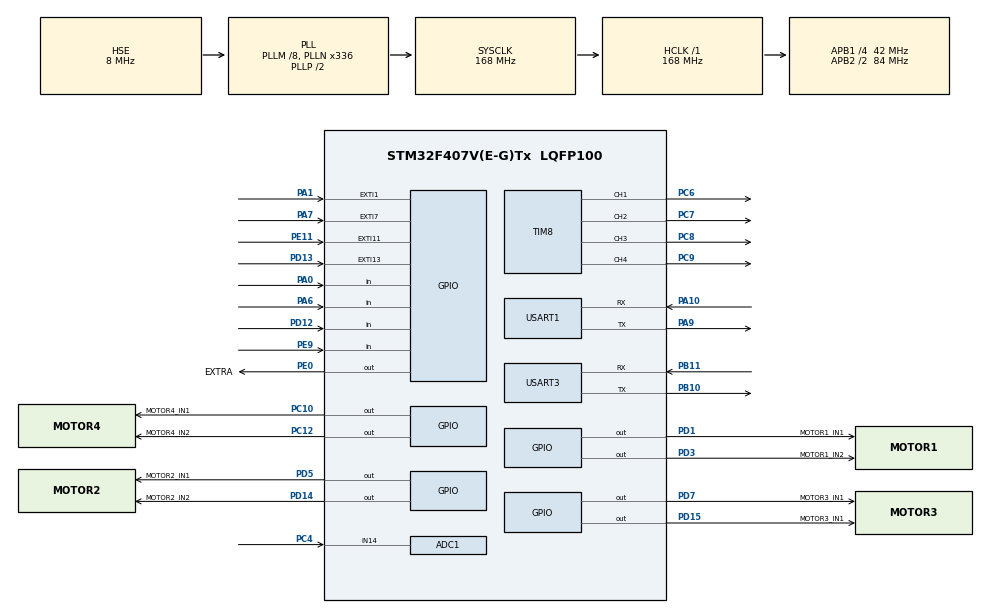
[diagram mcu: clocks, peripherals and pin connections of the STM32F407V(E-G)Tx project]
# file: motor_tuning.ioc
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ADC1.Channel-0\#ChannelRegularConversion=ADC_CHANNEL_14
ADC1.NbrOfConversionFlag=1
ADC1.Rank-0\#ChannelRegularConversion=1
ADC1.SamplingTime-0\#ChannelRegularConversion=ADC_SAMPLETIME_3CYCLES
ADC1.master=1
Dma.Request0=USART1_RX
Dma.Request1=USART1_TX
Dma.Request2=USART3_RX
Dma.Request3=USART3_TX
Dma.USART1_RX.0.Direction=DMA_PERIPH_TO_MEMORY
Dma.USART1_RX.0.FIFOMode=DMA_FIFOMODE_DISABLE
Dma.USART1_RX.0.Instance=DMA2_Stream2
Dma.USART1_RX.0.MemDataAlignment=DMA_MDATAALIGN_BYTE
Dma.USART1_RX.0.MemInc=DMA_MINC_ENABLE
Dma.USART1_RX.0.Mode=DMA_NORMAL
Dma.USART1_RX.0.PeriphDataAlignment=DMA_PDATAALIGN_BYTE
Dma.USART1_RX.0.PeriphInc=DMA_PINC_DISABLE
Dma.USART1_RX.0.Priority=DMA_PRIORITY_LOW
Dma.USART1_TX.1.Direction=DMA_MEMORY_TO_PERIPH
Dma.USART1_TX.1.FIFOMode=DMA_FIFOMODE_DISABLE
Dma.USART1_TX.1.Instance=DMA2_Stream7
Dma.USART1_TX.1.MemDataAlignment=DMA_MDATAALIGN_BYTE
Dma.USART1_TX.1.MemInc=DMA_MINC_ENABLE
Dma.USART1_TX.1.Mode=DMA_NORMAL
Dma.USART1_TX.1.PeriphDataAlignment=DMA_PDATAALIGN_BYTE
Dma.USART1_TX.1.PeriphInc=DMA_PINC_DISABLE
Dma.USART1_TX.1.Priority=DMA_PRIORITY_LOW
Dma.USART3_RX.2.Direction=DMA_PERIPH_TO_MEMORY
Dma.USART3_RX.2.FIFOMode=DMA_FIFOMODE_DISABLE
Dma.USART3_RX.2.Instance=DMA1_Stream1
Dma.USART3_RX.2.MemDataAlignment=DMA_MDATAALIGN_BYTE
Dma.USART3_RX.2.MemInc=DMA_MINC_ENABLE
Dma.USART3_RX.2.Mode=DMA_NORMAL
Dma.USART3_RX.2.PeriphDataAlignment=DMA_PDATAALIGN_BYTE
Dma.USART3_RX.2.PeriphInc=DMA_PINC_DISABLE
Dma.USART3_RX.2.Priority=DMA_PRIORITY_LOW
Dma.USART3_TX.3.Direction=DMA_MEMORY_TO_PERIPH
Dma.USART3_TX.3.FIFOMode=DMA_FIFOMODE_DISABLE
Dma.USART3_TX.3.Instance=DMA1_Stream3
Dma.USART3_TX.3.MemDataAlignment=DMA_MDATAALIGN_BYTE
Dma.USART3_TX.3.MemInc=DMA_MINC_ENABLE
Dma.USART3_TX.3.Mode=DMA_NORMAL
Dma.USART3_TX.3.PeriphDataAlignment=DMA_PDATAALIGN_BYTE
Dma.USART3_TX.3.PeriphInc=DMA_PINC_DISABLE
Dma.USART3_TX.3.Priority=DMA_PRIORITY_LOW
Mcu.Family=STM32F4
Mcu.Name=STM32F407V(E-G)Tx
Mcu.Package=LQFP100
NVIC.DMA1_Stream1_IRQn=true\:0\:0\:false\:false\:true\:false
NVIC.DMA1_Stream3_IRQn=true\:0\:0\:false\:false\:true\:false
NVIC.DMA2_Stream2_IRQn=true\:0\:0\:false\:false\:true\:false
NVIC.DMA2_Stream7_IRQn=true\:0\:0\:false\:false\:true\:false
NVIC.EXTI15_10_IRQn=true\:0\:0\:false\:false\:true\:true
NVIC.EXTI1_IRQn=true\:0\:0\:false\:false\:true\:true
NVIC.EXTI9_5_IRQn=true\:0\:0\:false\:false\:true\:true
NVIC.PriorityGroup=NVIC_PRIORITYGROUP_4
NVIC.USART1_IRQn=true\:0\:0\:false\:false\:true\:true
NVIC.USART3_IRQn=true\:0\:0\:false\:false\:true\:true
PA0-WKUP.GPIO_PuPd=GPIO_PULLUP
PA0-WKUP.Signal=GPIO_Input
PA1.Signal=GPXTI1
PA10.Mode=Asynchronous
PA10.Signal=USART1_RX
PA13.Mode=Trace_Asynchronous_SW
PA13.Signal=SYS_JTMS-SWDIO
PA14.Mode=Trace_Asynchronous_SW
PA14.Signal=SYS_JTCK-SWCLK
PA6.GPIO_PuPd=GPIO_PULLUP
PA6.Signal=GPIO_Input
PA7.Signal=GPXTI7
PA9.Mode=Asynchronous
PA9.Signal=USART1_TX
PB10.Mode=Asynchronous
PB10.Signal=USART3_TX
PB11.Mode=Asynchronous
PB11.Signal=USART3_RX
PB3.Mode=Trace_Asynchronous_SW
PB3.Signal=SYS_JTDO-SWO
PC10.GPIO_Label=MOTOR4_IN1
PC10.GPIO_Speed=GPIO_SPEED_FREQ_VERY_HIGH
PC10.Signal=GPIO_Output
PC12.GPIO_Label=MOTOR4_IN2
PC12.GPIO_Speed=GPIO_SPEED_FREQ_VERY_HIGH
PC12.Signal=GPIO_Output
PC4.Signal=ADCx_IN14
PC6.Signal=S_TIM8_CH1
PC7.Signal=S_TIM8_CH2
PC8.Signal=S_TIM8_CH3
PC9.Signal=S_TIM8_CH4
PD1.GPIO_Label=MOTOR1_IN1
PD1.GPIO_Speed=GPIO_SPEED_FREQ_VERY_HIGH
PD1.Signal=GPIO_Output
PD12.GPIO_Mode=GPIO_MODE_INPUT
PD12.GPIO_PuPd=GPIO_PULLUP
PD12.Signal=GPIO_Input
PD13.Signal=GPXTI13
PD14.GPIO_Label=MOTOR2_IN2
PD14.GPIO_Speed=GPIO_SPEED_FREQ_VERY_HIGH
PD14.Signal=GPIO_Output
PD15.GPIO_Label=MOTOR3_IN1
PD15.GPIO_Speed=GPIO_SPEED_FREQ_VERY_HIGH
PD15.Signal=GPIO_Output
PD3.GPIO_Label=MOTOR1_IN2
PD3.GPIO_Speed=GPIO_SPEED_FREQ_VERY_HIGH
PD3.Signal=GPIO_Output
PD5.GPIO_Label=MOTOR2_IN1
PD5.GPIO_Speed=GPIO_SPEED_FREQ_VERY_HIGH
PD5.Signal=GPIO_Output
PD7.GPIO_Label=MOTOR3_IN1
PD7.GPIO_Speed=GPIO_SPEED_FREQ_VERY_HIGH
PD7.Signal=GPIO_Output
PE0.GPIO_Label=EXTRA
PE0.GPIO_Speed=GPIO_SPEED_FREQ_VERY_HIGH
PE0.Signal=GPIO_Output
PE11.Signal=GPXTI11
PE9.GPIO_PuPd=GPIO_PULLUP
PE9.Signal=GPIO_Input
PH0-OSC_IN.Mode=HSE-External-Oscillator
PH0-OSC_IN.Signal=RCC_OSC_IN
PH1-OSC_OUT.Mode=HSE-External-Oscillator
PH1-OSC_OUT.Signal=RCC_OSC_OUT
ProjectManager.HeapSize=0x200
ProjectManager.StackSize=0x400
ProjectManager.TargetToolchain=MDK-ARM V5
RCC.48MHZClocksFreq_Value=84000000
RCC.AHBFreq_Value=168000000
RCC.APB1CLKDivider=RCC_HCLK_DIV4
RCC.APB1Freq_Value=42000000
RCC.APB1TimFreq_Value=84000000
RCC.APB2CLKDivider=RCC_HCLK_DIV2
RCC.APB2Freq_Value=84000000
RCC.APB2TimFreq_Value=168000000
RCC.CortexFreq_Value=168000000
RCC.HCLKFreq_Value=168000000
RCC.HSE_VALUE=8000000
RCC.HSI_VALUE=16000000
RCC.LSE_VALUE=32768
RCC.PLLM=8
RCC.PLLN=336
RCC.PLLSourceVirtual=RCC_PLLSOURCE_HSE
RCC.SYSCLKFreq_VALUE=168000000
RCC.SYSCLKSource=RCC_SYSCLKSOURCE_PLLCLK
RCC.VCOOutputFreq_Value=336000000
SH.ADCx_IN14.0=ADC1_IN14,IN14
SH.S_TIM8_CH1.0=TIM8_CH1,PWM Generation1 CH1
SH.S_TIM8_CH2.0=TIM8_CH2,PWM Generation2 CH2
SH.S_TIM8_CH3.0=TIM8_CH3,PWM Generation3 CH3
SH.S_TIM8_CH4.0=TIM8_CH4,PWM Generation4 CH4
TIM8.Channel-PWM\ Generation1\ CH1=TIM_CHANNEL_1
TIM8.Channel-PWM\ Generation2\ CH2=TIM_CHANNEL_2
TIM8.Channel-PWM\ Generation3\ CH3=TIM_CHANNEL_3
TIM8.Channel-PWM\ Generation4\ CH4=TIM_CHANNEL_4
USART1.VirtualMode=VM_ASYNC
USART3.VirtualMode=VM_ASYNC
board=custom

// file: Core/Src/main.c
/**
  ******************************************************************************
  * @file           : main.c
  * @brief          : Main program body
  ******************************************************************************
  ** This notice applies to any and all portions of this file
  * that are not between comment pairs USER CODE BEGIN and
  * USER CODE END. Other portions of this file, whether
  * inserted by the user or by software development tools
  * are owned by their respective copyright owners.
  *
  * COPYRIGHT(c) 2018 STMicroelectronics
  *
  * Redistribution and use in source and binary forms, with or without modification,
  * are permitted provided that the following conditions are met:
  *   1. Redistributions of source code must retain the above copyright notice,
  *      this list of conditions and the following disclaimer.
  *   2. Redistributions in binary form must reproduce the above copyright notice,
  *      this list of conditions and the following disclaimer in the documentation
  *      and/or other materials provided with the distribution.
  *   3. Neither the name of STMicroelectronics nor the names of its contributors
  *      may be used to endorse or promote products derived from this software
  *      without specific prior written permission.
  *
  * THIS SOFTWARE IS PROVIDED BY THE COPYRIGHT HOLDERS AND CONTRIBUTORS "AS IS"
  * AND ANY EXPRESS OR IMPLIED WARRANTIES, INCLUDING, BUT NOT LIMITED TO, THE
  * IMPLIED WARRANTIES OF MERCHANTABILITY AND FITNESS FOR A PARTICULAR PURPOSE ARE
  * DISCLAIMED. IN NO EVENT SHALL THE COPYRIGHT HOLDER OR CONTRIBUTORS BE LIABLE
  * FOR ANY DIRECT, INDIRECT, INCIDENTAL, SPECIAL, EXEMPLARY, OR CONSEQUENTIAL
  * DAMAGES (INCLUDING, BUT NOT LIMITED TO, PROCUREMENT OF SUBSTITUTE GOODS OR
  * SERVICES; LOSS OF USE, DATA, OR PROFITS; OR BUSINESS INTERRUPTION) HOWEVER
  * CAUSED AND ON ANY THEORY OF LIABILITY, WHETHER IN CONTRACT, STRICT LIABILITY,
  * OR TORT (INCLUDING NEGLIGENCE OR OTHERWISE) ARISING IN ANY WAY OUT OF THE USE
  * OF THIS SOFTWARE, EVEN IF ADVISED OF THE POSSIBILITY OF SUCH DAMAGE.
  *
  ******************************************************************************
  */
#include "main.h"
#include "stm32f4xx_hal.h"
#include "adc.h"
#include "tim.h"
#include "usart.h"
#include "gpio.h"
#include "dma.h"

/* USER CODE BEGIN Includes */
#include "robo_init.h"
#include "robot.h"
#include "pid.h"
#include <stdlib.h>
#include "drive.h"
//#include "Navigator.h"

/* USER CODE END Includes */

/* USER CODE BEGIN PV */
extern double velocity[3];
extern float robotx, roboty, theta;
extern int32_t counts[4] ;
extern struct Str_pid pid[4];

extern struct Str_pid_distance pid_dis_1;
extern struct Str_pid_distance pid_dis_2;
extern struct Str_pid_distance pid_dis_3;
extern uint16_t   update_tick;
extern struct encoder e[4];
float go[460][2] = {{-1225, 1500},
					{10 , 149.248},
					{10 , 60.752},
					{10 , 45.8809},
					{10 , 38.0579},
					{10 , 32.9788},
					{10 , 29.3127},
					{10 , 26.4902},
					{10 , 24.2192},
					{10 , 22.333},
					{10 , 20.7273},
					{10 , 19.3347},
					{10 , 18.1077},
					{10 , 17.0127},
					{10 , 16.0254},
					{10 , 15.1267},
					{10 , 14.302},
					{10 , 13.54},
					{10 , 12.832},
					{10 , 12.1702},
					{10 , 11.5486},
					{10 , 10.9624},
					{10 , 10.407},
					{10 , 9.87939},
					{10 , 9.37598},
					{10 , 8.89429},
					{10 , 8.43237},
					{10 , 7.98779},
					{10 , 7.55908},
					{10 , 7.14478},
					{10 , 6.74341},
					{10 , 6.35327},
					{10 , 5.97437},
					{10 , 5.60498},
					{10 , 5.24414},
					{10 , 4.89111},
					{10 , 4.54565},
					{10 , 4.20654},
					{10 , 3.87305},
					{10 , 3.54541},
					{10 , 3.22192},
					{10 , 2.90308},
					{10 , 2.58765},
					{10 , 2.27588},
					{10 , 1.9668},
					{10 , 1.66016},
					{10 , 1.35571},
					{10 , 1.05249},
					{10 , 0.750977},
					{10 , 0.450439},
					{10.4712 , 10},
					{10.4712 , 10},
					{10.4667 , 10},
					{10.4574 , 10},
					{10.4436 , 10},
					{10.4254 , 10},
					{10.4023 , 10},
					{10.3749 , 10},
					{10.3429 , 10},
					{10.3063 , 10},
					{10.2651 , 10},
					{10.2196 , 10},
					{10.1696 , 10},
					{10.115 , 10},
					{10.0559 , 10},
					{9.99268 , 10},
					{9.9248 , 10},
					{9.85266 , 10},
					{9.77625 , 10},
					{9.69556 , 10},
					{9.61053 , 10},
					{9.5213 , 10},
					{9.42792 , 10},
					{9.33044 , 10},
					{9.22882 , 10},
					{9.12317 , 10},
					{9.01349 , 10},
					{8.8999 , 10},
					{8.78241 , 10},
					{8.66101 , 10},
					{8.53583 , 10},
					{8.40692 , 10},
					{8.27435 , 10},
					{8.13806 , 10},
					{7.99835 , 10},
					{7.85498 , 10},
					{7.70825 , 10},
					{7.55811 , 10},
					{7.40466 , 10},
					{7.24799 , 10},
					{7.08807 , 10},
					{6.92511 , 10},
					{6.75909 , 10},
					{6.59015 , 10},
					{6.41821 , 10},
					{6.24353 , 10},
					{6.0661 , 10},
					{5.88605 , 10},
					{5.70331 , 10},
					{5.51819 , 10},
					{5.33057 , 10},
					{5.14062 , 10},
					{4.94849 , 10},
					{4.75409 , 10},
					{4.55762 , 10},
					{4.35919 , 10},
					{4.15887 , 10},
					{3.95667 , 10},
					{3.75275 , 10},
					{3.54718 , 10},
					{3.34009 , 10},
					{3.13147 , 10},
					{2.92157 , 10},
					{2.71027 , 10},
					{2.49786 , 10},
					{2.28436 , 10},
					{2.06982 , 10},
					{1.85443 , 10},
					{1.63812 , 10},
					{1.4212 , 10},
					{1.20355 , 10},
					{0.985535 , 10},
					{0.766907 , 10},
					{0.548035 , 10},
					{0.328918 , 10},
					{0.10968 , 10},
					{-0.10968 , 10},
					{-0.328918 , 10},
					{-0.548035 , 10},
					{-0.766907 , 10},
					{-0.985535 , 10},
					{-1.20355 , 10},
					{-1.4212 , 10},
					{-1.63812 , 10},
					{-1.85443 , 10},
					{-2.06982 , 10},
					{-2.28436 , 10},
					{-2.49786 , 10},
					{-2.71027 , 10},
					{-2.92157 , 10},
					{-3.13147 , 10},
					{-3.34009 , 10},
					{-3.54718 , 10},
					{-3.75275 , 10},
					{-3.95667 , 10},
					{-4.15887 , 10},
					{-4.35919 , 10},
					{-4.55762 , 10},
					{-4.75409 , 10},
					{-4.94849 , 10},
					{-5.14062 , 10},
					{-5.33057 , 10},
					{-5.51819 , 10},
					{-5.70331 , 10},
					{-5.88605 , 10},
					{-6.0661 , 10},
					{-6.24353 , 10},
					{-6.41821 , 10},
					{-6.59015 , 10},
					{-6.75909 , 10},
					{-6.92511 , 10},
					{-7.08807 , 10},
					{-7.24799 , 10},
					{-7.40466 , 10},
					{-7.55811 , 10},
					{-7.70825 , 10},
					{-7.85498 , 10},
					{-7.99835 , 10},
					{-8.13806 , 10},
					{-8.27435 , 10},
					{-8.40692 , 10},
					{-8.53583 , 10},
					{-8.66101 , 10},
					{-8.78241 , 10},
					{-8.8999 , 10},
					{-9.01349 , 10},
					{-9.12317 , 10},
					{-9.22882 , 10},
					{-9.33044 , 10},
					{-9.42792 , 10},
					{-9.5213 , 10},
					{-9.61053 , 10},
					{-9.69556 , 10},
					{-9.77625 , 10},
					{-9.85266 , 10},
					{-9.9248 , 10},
					{-9.99268 , 10},
					{-10.0559 , 10},
					{-10.115 , 10},
					{-10.1696 , 10},
					{-10.2196 , 10},
					{-10.2651 , 10},
					{-10.3063 , 10},
					{-10.3429 , 10},
					{-10.3749 , 10},
					{-10.4023 , 10},
					{-10.4254 , 10},
					{-10.4436 , 10},
					{-10.4574 , 10},
					{-10.4667 , 10},
					{-10.4712 , 10},
					{-10.4712 , 10},
					{-10.4667 , 10},
					{-10.4574 , 10},
					{-10.4436 , 10},
					{-10.4254 , 10},
					{-10.4023 , 10},
					{-10.3749 , 10},
					{-10.3429 , 10},
					{-10.3063 , 10},
					{-10.2651 , 10},
					{-10.2196 , 10},
					{-10.1696 , 10},
					{-10.115 , 10},
					{-10.0559 , 10},
					{-9.99268 , 10},
					{-9.9248 , 10},
					{-9.85266 , 10},
					{-9.77625 , 10},
					{-9.69556 , 10},
					{-9.61047 , 10},
					{-9.52136 , 10},
					{-9.42798 , 10},
					{-9.33044 , 10},
					{-9.22876 , 10},
					{-9.12317 , 10},
					{-9.01355 , 10},
					{-8.8999 , 10},
					{-8.78235 , 10},
					{-8.66101 , 10},
					{-8.53577 , 10},
					{-8.40698 , 10},
					{-8.27429 , 10},
					{-8.13818 , 10},
					{-7.99829 , 10},
					{-7.85498 , 10},
					{-7.70825 , 10},
					{-7.55811 , 10},
					{-7.40466 , 10},
					{-7.24792 , 10},
					{-7.08813 , 10},
					{-6.92517 , 10},
					{-6.75903 , 10},
					{-6.59009 , 10},
					{-6.41833 , 10},
					{-6.24353 , 10},
					{-6.06604 , 10},
					{-5.88599 , 10},
					{-5.70337 , 10},
					{-5.51819 , 10},
					{-5.33057 , 10},
					{-5.14062 , 10},
					{-4.94849 , 10},
					{-4.75403 , 10},
					{-4.55774 , 10},
					{-4.35913 , 10},
					{-4.15881 , 10},
					{-3.95667 , 10},
					{-3.75281 , 10},
					{-3.54724 , 10},
					{-3.33997 , 10},
					{-3.13159 , 10},
					{-2.92151 , 10},
					{-2.71033 , 10},
					{-2.4978 , 10},
					{-2.28442 , 10},
					{-2.06982 , 10},
					{-1.85437 , 10},
					{-1.63806 , 10},
					{-1.42126 , 10},
					{-1.20361 , 10},
					{-0.985474 , 10},
					{-0.766846 , 10},
					{-0.548096 , 10},
					{-0.328979 , 10},
					{-0.109619 , 10},
					{0.109619 , 10},
					{0.328979 , 10},
					{0.548096 , 10},
					{0.766846 , 10},
					{0.985474 , 10},
					{1.20361 , 10},
					{1.42126 , 10},
					{1.63806 , 10},
					{1.85437 , 10},
					{2.06982 , 10},
					{2.28442 , 10},
					{2.4978 , 10},
					{2.71033 , 10},
					{2.92151 , 10},
					{3.13159 , 10},
					{3.33997 , 10},
					{3.54724 , 10},
					{3.75281 , 10},
					{3.95667 , 10},
					{4.15881 , 10},
					{4.35913 , 10},
					{4.55774 , 10},
					{4.75403 , 10},
					{4.94849 , 10},
					{5.14062 , 10},
					{5.33057 , 10},
					{5.51819 , 10},
					{5.70337 , 10},
					{5.88599 , 10},
					{6.06604 , 10},
					{6.24353 , 10},
					{6.41833 , 10},
					{6.59009 , 10},
					{6.75903 , 10},
					{6.92517 , 10},
					{7.08813 , 10},
					{7.24792 , 10},
					{7.40466 , 10},
					{7.55811 , 10},
					{7.70825 , 10},
					{7.85498 , 10},
					{7.99829 , 10},
					{8.13818 , 10},
					{8.27429 , 10},
					{8.40698 , 10},
					{8.53577 , 10},
					{8.66101 , 10},
					{8.78235 , 10},
					{8.8999 , 10},
					{9.01355 , 10},
					{9.12317 , 10},
					{9.22876 , 10},
					{9.33044 , 10},
					{9.42798 , 10},
					{9.52136 , 10},
					{9.61047 , 10},
					{9.69556 , 10},
					{9.77625 , 10},
					{9.85266 , 10},
					{9.9248 , 10},
					{9.99268 , 10},
					{10.0559 , 10},
					{10.115 , 10},
					{10.1696 , 10},
					{10.2196 , 10},
					{10.2651 , 10},
					{10.3063 , 10},
					{10.3429 , 10},
					{10.3749 , 10},
					{10.4023 , 10},
					{10.4254 , 10},
					{10.4436 , 10},
					{10.4574 , 10},
					{10.4667 , 10},
					{0,2250},
					{-10 , 141.067},
					{-10 , 57.9297},
					{-10 , 44.1074},
					{-10 , 36.8955},
					{-10 , 32.25},
					{-10 , 28.9248},
					{-10 , 26.3848},
					{-10 , 24.3584},
					{-10 , 22.6904},
					{-10 , 21.2812},
					{-10 , 20.0713},
					{-10 , 19.0127},
					{-10 , 18.0781},
					{-10 , 17.2422},
					{-10 , 16.4883},
					{-10 , 15.8037},
					{-10 , 15.1777},
					{-10 , 14.5996},
					{-10 , 14.0664},
					{-10 , 13.5703},
					{-10 , 13.1064},
					{-10 , 12.6729},
					{-10 , 12.2646},
					{-10 , 11.8789},
					{-10 , 11.5146},
					{-10 , 11.1689},
					{-10 , 10.8408},
					{-10 , 10.5264},
					{-10 , 10.2285},
					{-10 , 9.94043},
					{-10 , 9.66699},
					{-10 , 9.40234},
					{-10 , 9.14941},
					{-10 , 8.9043},
					{-10 , 8.66895},
					{-10 , 8.44043},
					{-10 , 8.21973},
					{-10 , 8.00684},
					{-10 , 7.7998},
					{-10 , 7.59863},
					{-10 , 7.40332},
					{-10 , 7.21289},
					{-10 , 7.02832},
					{-10 , 6.84766},
					{-10 , 6.67285},
					{-10 , 6.5},
					{-10 , 6.33301},
					{-10 , 6.16797},
					{-10 , 6.00879},
					{-10 , 5.85059},
					{-10 , 5.69727},
					{-10 , 5.5459},
					{-10 , 5.39746},
					{-10 , 5.25293},
					{-10 , 5.10938},
					{-10 , 4.96973},
					{-10 , 4.83105},
					{-10 , 4.69531},
					{-10 , 4.56152},
					{-10 , 4.42969},
					{-10 , 4.29883},
					{-10 , 4.17188},
					{-10 , 4.0459},
					{-10 , 3.91992},
					{-10 , 3.79785},
					{-10 , 3.67578},
					{-10 , 3.55469},
					{-10 , 3.4375},
					{-10 , 3.31836},
					{-10 , 3.20312},
					{-10 , 3.08691},
					{-10 , 2.97363},
					{-10 , 2.86035},
					{-10 , 2.74805},
					{-10 , 2.6377},
					{-10 , 2.52637},
					{-10 , 2.41797},
					{-10 , 2.30957},
					{-10 , 2.20117},
					{-10 , 2.09473},
					{-10 , 1.98828},
					{-10 , 1.88281},
					{-10 , 1.77734},
					{-10 , 1.67285},
					{-10 , 1.56836},
					{-10 , 1.46582},
					{-10 , 1.3623},
					{-10 , 1.25977},
					{-10 , 1.1582},
					{-10 , 1.05566},
					{-10 , 0.954102},
					{-10 , 0.853516},
					{-10 , 0.751953},
					{-10 , 0.651367},
					{-10 , 0.550781},
					{-10 , 0.450195},
					{-10 , 0.350586},
					{-10 , 0.25},
					{-10 , 0.150391},
					{-2000,0},
					{0,0},
					{0,0},
					{0,0},
					{0,0},
					{0,0},};

float go_abs[1130][2] = {{500 , 500},
						{510 , 500.05},
						{520 , 500.2},
						{530 , 500.45},
						{540 , 500.8},
						{550 , 501.25},
						{560 , 501.8},
						{570 , 502.451},
						{580 , 503.202},
						{590 , 504.054},
						{600 , 505.006},
						{610 , 506.06},
						{620 , 507.214},
						{630 , 508.47},
						{640 , 509.828},
						{650 , 511.288},
						{660 , 512.85},
						{670 , 514.514},
						{680 , 516.282},
						{690 , 518.152},
						{700 , 520.127},
						{710 , 522.205},
						{720 , 524.388},
						{730 , 526.676},
						{740 , 529.07},
						{750 , 531.569},
						{760 , 534.175},
						{770 , 536.888},
						{780 , 539.709},
						{790 , 542.638},
						{800 , 545.677},
						{810 , 548.825},
						{820 , 552.083},
						{830 , 555.452},
						{840 , 558.934},
						{850 , 562.528},
						{860 , 566.235},
						{870 , 570.057},
						{880 , 573.995},
						{890 , 578.049},
						{900 , 582.22},
						{910 , 586.51},
						{920 , 590.919},
						{930 , 595.448},
						{940 , 600.1},
						{950 , 604.874},
						{960 , 609.773},
						{970 , 614.797},
						{980 , 619.948},
						{990 , 625.227},
						{1000 , 630.637},
						{1010 , 636.177},
						{1020 , 641.851},
						{1030 , 647.659},
						{1040 , 653.604},
						{1050 , 659.687},
						{1060 , 665.91},
						{1070 , 672.275},
						{1080 , 678.785},
						{1090 , 685.44},
						{1100 , 692.244},
						{1110 , 699.199},
						{1120 , 706.308},
						{1130 , 713.572},
						{1140 , 720.994},
						{1150 , 728.578},
						{1160 , 736.326},
						{1170 , 744.241},
						{1180 , 752.327},
						{1190 , 760.586},
						{1200 , 769.022},
						{1210 , 777.64},
						{1220 , 786.442},
						{1230 , 795.432},
						{1240 , 804.616},
						{1250 , 813.998},
						{1260 , 823.581},
						{1270 , 833.372},
						{1280 , 843.376},
						{1290 , 853.597},
						{1300 , 864.042},
						{1310 , 874.718},
						{1320 , 885.63},
						{1330 , 896.786},
						{1340 , 908.194},
						{1350 , 919.86},
						{1360 , 931.795},
						{1370 , 944.006},
						{1380 , 956.504},
						{1390 , 969.299},
						{1400 , 982.402},
						{1410 , 995.825},
						{1420 , 1009.58},
						{1430 , 1023.69},
						{1440 , 1038.15},
						{1450 , 1053},
						{1460 , 1068.24},
						{1470 , 1083.9},
						{1480 , 1100},
						{1490 , 1116.56},
						{1500 , 1133.61},
						{1510 , 1151.18},
						{1520 , 1169.31},
						{1530 , 1188.02},
						{1540 , 1207.36},
						{1550 , 1227.38},
						{1560 , 1248.13},
						{1570 , 1269.68},
						{1580 , 1292.1},
						{1590 , 1315.46},
						{1600 , 1339.88},
						{1610 , 1365.48},
						{1620 , 1392.4},
						{1630 , 1420.82},
						{1640 , 1450.99},
						{1650 , 1483.21},
						{1660 , 1517.88},
						{1670 , 1555.58},
						{1680 , 1597.17},
						{1690 , 1644},
						{1700 , 1698.5},
						{1710 , 1765.98},
						{1720 , 1864.61},
					{1725 , 2000},
					{1715 , 2149.25},
					{1705 , 2210},
					{1695 , 2255.88},
					{1685 , 2293.94},
					{1675 , 2326.92},
					{1665 , 2356.23},
					{1655 , 2382.72},
					{1645 , 2406.94},
					{1635 , 2429.27},
					{1625 , 2450},
					{1615 , 2469.33},
					{1605 , 2487.44},
					{1595 , 2504.46},
					{1585 , 2520.48},
					{1575 , 2535.61},
					{1565 , 2549.91},
					{1555 , 2563.45},
					{1545 , 2576.28},
					{1535 , 2588.45},
					{1525 , 2600},
					{1515 , 2610.96},
					{1505 , 2621.37},
					{1495 , 2631.25},
					{1485 , 2640.62},
					{1475 , 2649.52},
					{1465 , 2657.95},
					{1455 , 2665.94},
					{1445 , 2673.5},
					{1435 , 2680.64},
					{1425 , 2687.39},
					{1415 , 2693.74},
					{1405 , 2699.71},
					{1395 , 2705.32},
					{1385 , 2710.56},
					{1375 , 2715.45},
					{1365 , 2720},
					{1355 , 2724.21},
					{1345 , 2728.08},
					{1335 , 2731.62},
					{1325 , 2734.85},
					{1315 , 2737.75},
					{1305 , 2740.34},
					{1295 , 2742.61},
					{1285 , 2744.58},
					{1275 , 2746.24},
					{1265 , 2747.6},
					{1255 , 2748.65},
					{1245 , 2749.4},
					{1235 , 2749.85},
					{1225 , 2750},
					{1214.53 , 2760},
					{1204.06 , 2770},
					{1193.6 , 2780},
					{1183.16 , 2790},
					{1172.74 , 2800},
					{1162.33 , 2810},
					{1151.96 , 2820},
					{1141.62 , 2830},
					{1131.31 , 2840},
					{1121.04 , 2850},
					{1110.82 , 2860},
					{1100.66 , 2870},
					{1090.54 , 2880},
					{1080.48 , 2890},
					{1070.49 , 2900},
					{1060.57 , 2910},
					{1050.71 , 2920},
					{1040.94 , 2930},
					{1031.24 , 2940},
					{1021.63 , 2950},
					{1012.11 , 2960},
					{1002.68 , 2970},
					{993.352 , 2980},
					{984.123 , 2990},
					{975 , 3000},
					{965.987 , 3010},
					{957.087 , 3020},
					{948.304 , 3030},
					{939.643 , 3040},
					{931.107 , 3050},
					{922.7 , 3060},
					{914.426 , 3070},
					{906.288 , 3080},
					{898.29 , 3090},
					{890.435 , 3100},
					{882.726 , 3110},
					{875.168 , 3120},
					{867.764 , 3130},
					{860.516 , 3140},
					{853.428 , 3150},
					{846.503 , 3160},
					{839.743 , 3170},
					{833.153 , 3180},
					{826.735 , 3190},
					{820.492 , 3200},
					{814.425 , 3210},
					{808.539 , 3220},
					{802.836 , 3230},
					{797.318 , 3240},
					{791.987 , 3250},
					{786.847 , 3260},
					{781.898 , 3270},
					{777.144 , 3280},
					{772.586 , 3290},
					{768.227 , 3300},
					{764.068 , 3310},
					{760.112 , 3320},
					{756.359 , 3330},
					{752.812 , 3340},
					{749.472 , 3350},
					{746.34 , 3360},
					{743.419 , 3370},
					{740.708 , 3380},
					{738.211 , 3390},
					{735.926 , 3400},
					{733.856 , 3410},
					{732.002 , 3420},
					{730.364 , 3430},
					{728.943 , 3440},
					{727.739 , 3450},
					{726.754 , 3460},
					{725.987 , 3470},
					{725.439 , 3480},
					{725.11 , 3490},
					{725 , 3500},
					{725.11 , 3510},
					{725.439 , 3520},
					{725.987 , 3530},
					{726.754 , 3540},
					{727.739 , 3550},
					{728.943 , 3560},
					{730.364 , 3570},
					{732.002 , 3580},
					{733.856 , 3590},
					{735.926 , 3600},
					{738.211 , 3610},
					{740.708 , 3620},
					{743.419 , 3630},
					{746.34 , 3640},
					{749.472 , 3650},
					{752.812 , 3660},
					{756.359 , 3670},
					{760.112 , 3680},
					{764.068 , 3690},
					{768.227 , 3700},
					{772.586 , 3710},
					{777.144 , 3720},
					{781.898 , 3730},
					{786.847 , 3740},
					{791.987 , 3750},
					{797.318 , 3760},
					{802.836 , 3770},
					{808.539 , 3780},
					{814.425 , 3790},
					{820.492 , 3800},
					{826.735 , 3810},
					{833.153 , 3820},
					{839.743 , 3830},
					{846.503 , 3840},
					{853.428 , 3850},
					{860.516 , 3860},
					{867.764 , 3870},
					{875.168 , 3880},
					{882.726 , 3890},
					{890.435 , 3900},
					{898.29 , 3910},
					{906.288 , 3920},
					{914.426 , 3930},
					{922.7 , 3940},
					{931.107 , 3950},
					{939.643 , 3960},
					{948.304 , 3970},
					{957.087 , 3980},
					{965.987 , 3990},
					{975 , 4000},
					{984.123 , 4010},
					{993.352 , 4020},
					{1002.68 , 4030},
					{1012.11 , 4040},
					{1021.63 , 4050},
					{1031.24 , 4060},
					{1040.94 , 4070},
					{1050.71 , 4080},
					{1060.57 , 4090},
					{1070.49 , 4100},
					{1080.48 , 4110},
					{1090.54 , 4120},
					{1100.66 , 4130},
					{1110.82 , 4140},
					{1121.04 , 4150},
					{1131.31 , 4160},
					{1141.62 , 4170},
					{1151.96 , 4180},
					{1162.33 , 4190},
					{1172.74 , 4200},
					{1183.16 , 4210},
					{1193.6 , 4220},
					{1204.06 , 4230},
					{1214.53 , 4240},
					{1225 , 4250},
					{1235.47 , 4260},
					{1245.94 , 4270},
					{1256.4 , 4280},
					{1266.84 , 4290},
					{1277.26 , 4300},
					{1287.67 , 4310},
					{1298.04 , 4320},
					{1308.38 , 4330},
					{1318.69 , 4340},
					{1328.96 , 4350},
					{1339.18 , 4360},
					{1349.34 , 4370},
					{1359.46 , 4380},
					{1369.52 , 4390},
					{1379.51 , 4400},
					{1389.43 , 4410},
					{1399.29 , 4420},
					{1409.06 , 4430},
					{1418.76 , 4440},
					{1428.37 , 4450},
					{1437.89 , 4460},
					{1447.32 , 4470},
					{1456.65 , 4480},
					{1465.88 , 4490},
					{1475 , 4500},
					{1484.01 , 4510},
					{1492.91 , 4520},
					{1501.7 , 4530},
					{1510.36 , 4540},
					{1518.89 , 4550},
					{1527.3 , 4560},
					{1535.57 , 4570},
					{1543.71 , 4580},
					{1551.71 , 4590},
					{1559.57 , 4600},
					{1567.27 , 4610},
					{1574.83 , 4620},
					{1582.24 , 4630},
					{1589.48 , 4640},
					{1596.57 , 4650},
					{1603.5 , 4660},
					{1610.26 , 4670},
					{1616.85 , 4680},
					{1623.27 , 4690},
					{1629.51 , 4700},
					{1635.57 , 4710},
					{1641.46 , 4720},
					{1647.16 , 4730},
					{1652.68 , 4740},
					{1658.01 , 4750},
					{1663.15 , 4760},
					{1668.1 , 4770},
					{1672.86 , 4780},
					{1677.41 , 4790},
					{1681.77 , 4800},
					{1685.93 , 4810},
					{1689.89 , 4820},
					{1693.64 , 4830},
					{1697.19 , 4840},
					{1700.53 , 4850},
					{1703.66 , 4860},
					{1706.58 , 4870},
					{1709.29 , 4880},
					{1711.79 , 4890},
					{1714.07 , 4900},
					{1716.14 , 4910},
					{1718 , 4920},
					{1719.64 , 4930},
					{1721.06 , 4940},
					{1722.26 , 4950},
					{1723.25 , 4960},
					{1724.01 , 4970},
					{1724.56 , 4980},
					{1724.89 , 4990},
					{1725 , 5000},
					{1724.89 , 5010},
					{1724.56 , 5020},
					{1724.01 , 5030},
					{1723.25 , 5040},
					{1722.26 , 5050},
					{1721.06 , 5060},
					{1719.64 , 5070},
					{1718 , 5080},
					{1716.14 , 5090},
					{1714.07 , 5100},
					{1711.79 , 5110},
					{1709.29 , 5120},
					{1706.58 , 5130},
					{1703.66 , 5140},
					{1700.53 , 5150},
					{1697.19 , 5160},
					{1693.64 , 5170},
					{1689.89 , 5180},
					{1685.93 , 5190},
					{1681.77 , 5200},
					{1677.41 , 5210},
					{1672.86 , 5220},
					{1668.1 , 5230},
					{1663.15 , 5240},
					{1658.01 , 5250},
					{1652.68 , 5260},
					{1647.16 , 5270},
					{1641.46 , 5280},
					{1635.57 , 5290},
					{1629.51 , 5300},
					{1623.27 , 5310},
					{1616.85 , 5320},
					{1610.26 , 5330},
					{1603.5 , 5340},
					{1596.57 , 5350},
					{1589.48 , 5360},
					{1582.24 , 5370},
					{1574.83 , 5380},
					{1567.27 , 5390},
					{1559.57 , 5400},
					{1551.71 , 5410},
					{1543.71 , 5420},
					{1535.57 , 5430},
					{1527.3 , 5440},
					{1518.89 , 5450},
					{1510.36 , 5460},
					{1501.7 , 5470},
					{1492.91 , 5480},
					{1484.01 , 5490},
					{1475 , 5500},
					{1465.88 , 5510},
					{1456.65 , 5520},
					{1447.32 , 5530},
					{1437.89 , 5540},
					{1428.37 , 5550},
					{1418.76 , 5560},
					{1409.06 , 5570},
					{1399.29 , 5580},
					{1389.43 , 5590},
					{1379.51 , 5600},
					{1369.52 , 5610},
					{1359.46 , 5620},
					{1349.34 , 5630},
					{1339.18 , 5640},
					{1328.96 , 5650},
					{1318.69 , 5660},
					{1308.38 , 5670},
					{1298.04 , 5680},
					{1287.67 , 5690},
					{1277.26 , 5700},
					{1266.84 , 5710},
					{1256.4 , 5720},
					{1245.94 , 5730},
					{1235.47 , 5740},
					{1225 , 5750},
					{1225 , 5760},
					{1225 , 5770},
					{1225 , 5780},
					{1225 , 5790},
					{1225 , 5800},
					{1225 , 5810},
					{1225 , 5820},
					{1225 , 5830},
					{1225 , 5840},
					{1225 , 5850},
					{1225 , 5860},
					{1225 , 5870},
					{1225 , 5880},
					{1225 , 5890},
					{1225 , 5900},
					{1225 , 5910},
					{1225 , 5920},
					{1225 , 5930},
					{1225 , 5940},
					{1225 , 5950},
					{1225 , 5960},
					{1225 , 5970},
					{1225 , 5980},
					{1225 , 5990},
					{1225 , 6000},
					{1225 , 6010},
					{1225 , 6020},
					{1225 , 6030},
					{1225 , 6040},
					{1225 , 6050},
					{1225 , 6060},
					{1225 , 6070},
					{1225 , 6080},
					{1225 , 6090},
					{1225 , 6100},
					{1225 , 6110},
					{1225 , 6120},
					{1225 , 6130},
					{1225 , 6140},
					{1225 , 6150},
					{1225 , 6160},
					{1225 , 6170},
					{1225 , 6180},
					{1225 , 6190},
					{1225 , 6200},
					{1225 , 6210},
					{1225 , 6220},
					{1225 , 6230},
					{1225 , 6240},
					{1225 , 6250},
					{1225 , 6260},
					{1225 , 6270},
					{1225 , 6280},
					{1225 , 6290},
					{1225 , 6300},
					{1225 , 6310},
					{1225 , 6320},
					{1225 , 6330},
					{1225 , 6340},
					{1225 , 6350},
					{1225 , 6360},
					{1225 , 6370},
					{1225 , 6380},
					{1225 , 6390},
					{1225 , 6400},
					{1225 , 6410},
					{1225 , 6420},
					{1225 , 6430},
					{1225 , 6440},
					{1225 , 6450},
					{1225 , 6460},
					{1225 , 6470},
					{1225 , 6480},
					{1225 , 6490},
					{1225 , 6500},
					{1225 , 6510},
					{1225 , 6520},
					{1225 , 6530},
					{1225 , 6540},
					{1225 , 6550},
					{1225 , 6560},
					{1225 , 6570},
					{1225 , 6580},
					{1225 , 6590},
					{1225 , 6600},
					{1225 , 6610},
					{1225 , 6620},
					{1225 , 6630},
					{1225 , 6640},
					{1225 , 6650},
					{1225 , 6660},
					{1225 , 6670},
					{1225 , 6680},
					{1225 , 6690},
					{1225 , 6700},
					{1225 , 6710},
					{1225 , 6720},
					{1225 , 6730},
					{1225 , 6740},
					{1225 , 6750},
					{1225 , 6760},
					{1225 , 6770},
					{1225 , 6780},
					{1225 , 6790},
					{1225 , 6800},
					{1225 , 6810},
					{1225 , 6820},
					{1225 , 6830},
					{1225 , 6840},
					{1225 , 6850},
					{1225 , 6860},
					{1225 , 6870},
					{1225 , 6880},
					{1225 , 6890},
					{1225 , 6900},
					{1225 , 6910},
					{1225 , 6920},
					{1225 , 6930},
					{1225 , 6940},
					{1225 , 6950},
					{1225 , 6960},
					{1225 , 6970},
					{1225 , 6980},
					{1225 , 6990},
					{1225 , 7000},
					{1225 , 7010},
					{1225 , 7020},
					{1225 , 7030},
					{1225 , 7040},
					{1225 , 7050},
					{1225 , 7060},
					{1225 , 7070},
					{1225 , 7080},
					{1225 , 7090},
					{1225 , 7100},
					{1225 , 7110},
					{1225 , 7120},
					{1225 , 7130},
					{1225 , 7140},
					{1225 , 7150},
					{1225 , 7160},
					{1225 , 7170},
					{1225 , 7180},
					{1225 , 7190},
					{1225 , 7200},
					{1225 , 7210},
					{1225 , 7220},
					{1225 , 7230},
					{1225 , 7240},
					{1225 , 7250},
					{1225 , 7260},
					{1225 , 7270},
					{1225 , 7280},
					{1225 , 7290},
					{1225 , 7300},
					{1225 , 7310},
					{1225 , 7320},
					{1225 , 7330},
					{1225 , 7340},
					{1225 , 7350},
					{1225 , 7360},
					{1225 , 7370},
					{1225 , 7380},
					{1225 , 7390},
					{1225 , 7400},
					{1225 , 7410},
					{1225 , 7420},
					{1225 , 7430},
					{1225 , 7440},
					{1225 , 7450},
					{1225 , 7460},
					{1225 , 7470},
					{1225 , 7480},
					{1225 , 7490},
					{1225 , 7500},
					{1225 , 7510},
					{1225 , 7520},
					{1225 , 7530},
					{1225 , 7540},
					{1225 , 7550},
					{1225 , 7560},
					{1225 , 7570},
					{1225 , 7580},
					{1225 , 7590},
					{1225 , 7600},
					{1225 , 7610},
					{1225 , 7620},
					{1225 , 7630},
					{1225 , 7640},
					{1225 , 7650},
					{1225 , 7660},
					{1225 , 7670},
					{1225 , 7680},
					{1225 , 7690},
					{1225 , 7700},
					{1225 , 7710},
					{1225 , 7720},
					{1225 , 7730},
					{1225 , 7740},
					{1225 , 7750},
					{1225 , 7760},
					{1225 , 7770},
					{1225 , 7780},
					{1225 , 7790},
					{1225 , 7800},
					{1225 , 7810},
					{1225 , 7820},
					{1225 , 7830},
					{1225 , 7840},
					{1225 , 7850},
					{1225 , 7860},
					{1225 , 7870},
					{1225 , 7880},
					{1225 , 7890},
					{1225 , 7900},
					{1225 , 7910},
					{1225 , 7920},
					{1225 , 7930},
					{1225 , 7940},
					{1225 , 7950},
					{1225 , 7960},
					{1225 , 7970},
					{1225 , 7980},
					{1225 , 7990},
					{1225 , 8000},
					{1235 , 8141.07},
					{1245 , 8199},
					{1255 , 8243.1},
					{1265 , 8280},
					{1275 , 8312.25},
					{1285 , 8341.17},
					{1295 , 8367.56},
					{1305 , 8391.92},
					{1315 , 8414.61},
					{1325 , 8435.89},
					{1335 , 8455.96},
					{1345 , 8474.97},
					{1355 , 8493.05},
					{1365 , 8510.29},
					{1375 , 8526.78},
					{1385 , 8542.59},
					{1395 , 8557.76},
					{1405 , 8572.36},
					{1415 , 8586.43},
					{1425 , 8600},
					{1435 , 8613.11},
					{1445 , 8625.78},
					{1455 , 8638.04},
					{1465 , 8649.92},
					{1475 , 8661.44},
					{1485 , 8672.61},
					{1495 , 8683.45},
					{1505 , 8693.97},
					{1515 , 8704.2},
					{1525 , 8714.14},
					{1535 , 8723.81},
					{1545 , 8733.21},
					{1555 , 8742.36},
					{1565 , 8751.27},
					{1575 , 8759.93},
					{1585 , 8768.38},
					{1595 , 8776.59},
					{1605 , 8784.6},
					{1615 , 8792.4},
					{1625 , 8800},
					{1635 , 8807.4},
					{1645 , 8814.62},
					{1655 , 8821.64},
					{1665 , 8828.49},
					{1675 , 8835.17},
					{1685 , 8841.67},
					{1695 , 8848},
					{1705 , 8854.17},
					{1715 , 8860.17},
					{1725 , 8866.03},
					{1735 , 8871.72},
					{1745 , 8877.27},
					{1755 , 8882.67},
					{1765 , 8887.92},
					{1775 , 8893.03},
					{1785 , 8898},
					{1795 , 8902.83},
					{1805 , 8907.52},
					{1815 , 8912.09},
					{1825 , 8916.52},
					{1835 , 8920.81},
					{1845 , 8924.99},
					{1855 , 8929.03},
					{1865 , 8932.95},
					{1875 , 8936.75},
					{1885 , 8940.43},
					{1895 , 8943.98},
					{1905 , 8947.42},
					{1915 , 8950.74},
					{1925 , 8953.94},
					{1935 , 8957.03},
					{1945 , 8960},
					{1955 , 8962.86},
					{1965 , 8965.61},
					{1975 , 8968.25},
					{1985 , 8970.77},
					{1995 , 8973.19},
					{2005 , 8975.5},
					{2015 , 8977.7},
					{2025 , 8979.8},
					{2035 , 8981.78},
					{2045 , 8983.67},
					{2055 , 8985.44},
					{2065 , 8987.12},
					{2075 , 8988.69},
					{2085 , 8990.15},
					{2095 , 8991.51},
					{2105 , 8992.77},
					{2115 , 8993.93},
					{2125 , 8994.99},
					{2135 , 8995.94},
					{2145 , 8996.79},
					{2155 , 8997.55},
					{2165 , 8998.2},
					{2175 , 8998.75},
					{2185 , 8999.2},
					{2195 , 8999.55},
					{2205 , 8999.8},
					{2215 , 8999.95},
					{2225 , 9000},
					{2235 , 9000},
					{2245 , 9000},
					{2255 , 9000},
					{2265 , 9000},
					{2275 , 9000},
					{2285 , 9000},
					{2295 , 9000},
					{2305 , 9000},
					{2315 , 9000},
					{2325 , 9000},
					{2335 , 9000},
					{2345 , 9000},
					{2355 , 9000},
					{2365 , 9000},
					{2375 , 9000},
					{2385 , 9000},
					{2395 , 9000},
					{2405 , 9000},
					{2415 , 9000},
					{2425 , 9000},
					{2435 , 9000},
					{2445 , 9000},
					{2455 , 9000},
					{2465 , 9000},
					{2475 , 9000},
					{2485 , 9000},
					{2495 , 9000},
					{2505 , 9000},
					{2515 , 9000},
					{2525 , 9000},
					{2535 , 9000},
					{2545 , 9000},
					{2555 , 9000},
					{2565 , 9000},
					{2575 , 9000},
					{2585 , 9000},
					{2595 , 9000},
					{2605 , 9000},
					{2615 , 9000},
					{2625 , 9000},
					{2635 , 9000},
					{2645 , 9000},
					{2655 , 9000},
					{2665 , 9000},
					{2675 , 9000},
					{2685 , 9000},
					{2695 , 9000},
					{2705 , 9000},
					{2715 , 9000},
					{2725 , 9000},
					{2735 , 9000},
					{2745 , 9000},
					{2755 , 9000},
					{2765 , 9000},
					{2775 , 9000},
					{2785 , 9000},
					{2795 , 9000},
					{2805 , 9000},
					{2815 , 9000},
					{2825 , 9000},
					{2835 , 9000},
					{2845 , 9000},
					{2855 , 9000},
					{2865 , 9000},
					{2875 , 9000},
					{2885 , 9000},
					{2895 , 9000},
					{2905 , 9000},
					{2915 , 9000},
					{2925 , 9000},
					{2935 , 9000},
					{2945 , 9000},
					{2955 , 9000},
					{2965 , 9000},
					{2975 , 9000},
					{2985 , 9000},
					{2995 , 9000},
					{3005 , 9000},
					{3015 , 9000},
					{3025 , 9000},
					{3035 , 9000},
					{3045 , 9000},
					{3055 , 9000},
					{3065 , 9000},
					{3075 , 9000},
					{3085 , 9000},
					{3095 , 9000},
					{3105 , 9000},
					{3115 , 9000},
					{3125 , 9000},
					{3135 , 9000},
					{3145 , 9000},
					{3155 , 9000},
					{3165 , 9000},
					{3175 , 9000},
					{3185 , 9000},
					{3195 , 9000},
					{3205 , 9000},
					{3215 , 9000},
					{3225 , 9000},
					{3235 , 9000},
					{3245 , 9000},
					{3255 , 9000},
					{3265 , 9000},
					{3275 , 9000},
					{3285 , 9000},
					{3295 , 9000},
					{3305 , 9000},
					{3315 , 9000},
					{3325 , 9000},
					{3335 , 9000},
					{3345 , 9000},
					{3355 , 9000},
					{3365 , 9000},
					{3375 , 9000},
					{3385 , 9000},
					{3395 , 9000},
					{3405 , 9000},
					{3415 , 9000},
					{3425 , 9000},
					{3435 , 9000},
					{3445 , 9000},
					{3455 , 9000},
					{3465 , 9000},
					{3475 , 9000},
					{3485 , 9000},
					{3495 , 9000},
					{3505 , 9000},
					{3515 , 9000},
					{3525 , 9000},
					{3535 , 9000},
					{3545 , 9000},
					{3555 , 9000},
					{3565 , 9000},
					{3575 , 9000},
					{3585 , 9000},
					{3595 , 9000},
					{3605 , 9000},
					{3615 , 9000},
					{3625 , 9000},
					{3635 , 9000},
					{3645 , 9000},
					{3655 , 9000},
					{3665 , 9000},
					{3675 , 9000},
					{3685 , 9000},
					{3695 , 9000},
					{3705 , 9000},
					{3715 , 9000},
					{3725 , 9000},
					{3735 , 9000},
					{3745 , 9000},
					{3755 , 9000},
					{3765 , 9000},
					{3775 , 9000},
					{3785 , 9000},
					{3795 , 9000},
					{3805 , 9000},
					{3815 , 9000},
					{3825 , 9000},
					{3835 , 9000},
					{3845 , 9000},
					{3855 , 9000},
					{3865 , 9000},
					{3875 , 9000},
					{3885 , 9000},
					{3895 , 9000},
					{3905 , 9000},
					{3915 , 9000},
					{3925 , 9000},
					{3935 , 9000},
					{3945 , 9000},
					{3955 , 9000},
					{3965 , 9000},
					{3975 , 9000},
					{3985 , 9000},
					{3995 , 9000},
					{4005 , 9000},
					{4015 , 9000},
					{4025 , 9000},
					{4035 , 9000},
					{4045 , 9000},
					{4055 , 9000},
					{4065 , 9000},
					{4075 , 9000},
					{4085 , 9000},
					{4095 , 9000},
					{4105 , 9000},
					{4115 , 9000},
					{4125 , 9000},
					{4135 , 9000},
					{4145 , 9000},
					{4155 , 9000},
					{4165 , 9000},
					{4175 , 9000},
					{4185 , 9000},
					{4195 , 9000},
					{4205 , 9000},
					{4215 , 9000},
					{4225 , 9000},
					{4235 , 9000},
					{4245 , 9000},
					{4255 , 9000},
					{4265 , 9000},
					{4275 , 9000},
					{4285 , 9000},
					{4295 , 9000},
					{4305 , 9000},
					{4315 , 9000},
					{4325 , 9000},
					{4335 , 9000},
					{4345 , 9000},
					{4355 , 9000},
					{4365 , 9000},
					{4375 , 9000},
					{4385 , 9000},
					{4395 , 9000},
					{4405 , 9000},
					{4415 , 9000},
					{4425 , 9000},
					{4435 , 9000},
					{4445 , 9000},
					{4455 , 9000},
					{4465 , 9000},
					{4475 , 9000},
					{4485 , 9000},
					{4495 , 9000},
					{4505 , 9000},
					{4515 , 9000},
					{4525 , 9000},
					{4535 , 9000},
					{4545 , 9000},
					{4555 , 9000},
					{4565 , 9000},
					{4575 , 9000},
					{4585 , 9000},
					{4595 , 9000},
					{4605 , 9000},
					{4615 , 9000},
					{4625 , 9000},
					{4635 , 9000},
					{4645 , 9000},
					{4655 , 9000},
					{4665 , 9000},
					{4675 , 9000},
					{4685 , 9000},
					{4695 , 9000},
					{4705 , 9000},
					{4715 , 9000},
					{4725 , 9000},
					{4735 , 9000},
					{4745 , 9000},
					{4755 , 9000},
					{4765 , 9000},
					{4775 , 9000},
					{4785 , 9000},
					{4795 , 9000},
					{4805 , 9000},
					{4815 , 9000},
					{4825 , 9000},
					{4835 , 9000},
					{4845 , 9000},
					{4855 , 9000},
					{4865 , 9000},
					{4875 , 9000},
					{4885 , 9000},
					{4895 , 9000},
					{4905 , 9000},
					{4915 , 9000},
					{4925 , 9000},
					{4935 , 9000},
					{4945 , 9000},
					{4955 , 9000},
					{4965 , 9000},
					{4975 , 9000},
					{4985 , 9000},
					{4995 , 9000},
					{5005 , 9000},
					{5015 , 9000},
					{5025 , 9000},
					{5035 , 9000},
					{5045 , 9000},
					{5055 , 9000},
					{5065 , 9000},
					{5075 , 9000},
					{5085 , 9000},
					{5095 , 9000},
					{5105 , 9000},
					{5115 , 9000},
					{5125 , 9000},
					{5135 , 9000},
					{5145 , 9000},
					{5155 , 9000},
					{5165 , 9000},
					{5175 , 9000},
					{5185 , 9000},
					{5195 , 9000},
					{5205 , 9000},
					{5215 , 9000},
					{5225 , 9000},
					{5235 , 9000},
					{5245 , 9000},
					{5255 , 9000},
					{5265 , 9000},
					{5275 , 9000},
					{5285 , 9000},
					{5295 , 9000},
					{5305 , 9000},
					{5315 , 9000},
					{5325 , 9000},
					{5335 , 9000},
					{5345 , 9000},
					{5355 , 9000},
					{5365 , 9000},
					{5375 , 9000},
					{5385 , 9000},
					{5395 , 9000},
					{5405 , 9000},
					{5415 , 9000},
					{5425 , 9000},
					{5435 , 9000},
					{5445 , 9000},
					{5455 , 9000},
					{5465 , 9000},
					{5475 , 9000},
					{5485 , 9000},
					{5495 , 9000}};

/* Private variables ---------------------------------------------------------*/

/* USER CODE END PV */

void SystemClock_Config(void);

/* USER CODE BEGIN PFP */
/* Private function prototypes -----------------------------------------------*/

/* USER CODE END PFP */

/* USER CODE BEGIN 0 */

struct __FILE{

int handle;
};

FILE __stdout;
FILE __stdin;

int fputc(int ch, FILE *f)
{
	ITM_SendChar(ch);
	return(ch);
}

/* USER CODE END 0 */

int main(void)
    {
        /* USER CODE BEGIN 1 */
        update_tick = HAL_GetTick();

		set_Gains_distance(&pid_dis_1, 1,0.00,0);	  // 13.55,0.025,300	25.55,0.004,1000
		set_Gains_distance(&pid_dis_2, 1,0.00,000);    // 7.465,0.011,200
		set_Gains_distance(&pid_dis_3, 1.2,0.001,0);

        /*  USER CODE END 1 */

        /* MCU Configuration----------------------------------------------------------*/

        /* Reset of all peripherals, Initializes the Flash interface and the Systick. */
	    HAL_Init();

        /* Configure the system clock */
        SystemClock_Config();

        /* Initialize all configured peripherals */
        MX_GPIO_Init();
		MX_DMA_Init();
        MX_ADC1_Init();
        MX_TIM8_Init();
        MX_USART1_UART_Init();
        MX_USART3_UART_Init();

        /* USER CODE BEGIN 2 */

		wheel_init();
		init_encoder();
		for (uint8_t i = 0; i < 4; ++i) {
			init_PID(&pid[i]);
		}

		set_OutputLimit(&pid[0],12,-12);
		set_OutputLimit(&pid[1],12,-12);
		set_OutputLimit(&pid[2],12,-12);
		set_OutputLimit(&pid[3],12,-12);

		HAL_TIM_Base_Start(&htim8);
		HAL_TIM_PWM_Start(&htim8, TIM_CHANNEL_1);
		HAL_TIM_PWM_Start(&htim8, TIM_CHANNEL_2);
		HAL_TIM_PWM_Start(&htim8, TIM_CHANNEL_3);
		HAL_TIM_PWM_Start(&htim8, TIM_CHANNEL_4);

		set_Gains(&pid[0], 0.063, 5.2, 0 );
		set_Gains(&pid[1], 0.063, 5.2, 0 );
		set_Gains(&pid[2], 0.063, 5.2, 0 );
		set_Gains(&pid[3], 0.063, 5.2, 0 );

		/* USER CODE END 2 */

			/* Infinite loop */
		int ok;

		uint32_t omega_update_tick = HAL_GetTick();
		uint32_t location_recieve_tick = HAL_GetTick();
		/*for (int i=0; i<700; i++)
		{
			ok = goto_absolute_distance(-go_abs[i][0]*0.9, go_abs[i][1]*0.9 ,0);
		}*/
		//ok = goto_absolute_distance(0,1000 ,0);
		ok++;
	float location[3] = {-450,500,0};
	while (1)
	{
		//printf("%d \t%d \t%d \t%d\n", e[0].count, e[1].count, e[2].count, e[3].count);
		HAL_Delay(1);
		//`printf("%f\t%f\n",robotx, roboty);
		velocity[0]=0;
		velocity[1]=0;
		velocity[2]=0;
		calculate_velocity_with_pid();
		calculate_robot_distance();

		/*if((location_recieve_tick - HAL_GetTick())>15)
		{
			location_recieve_tick = HAL_GetTick();
			get_Navigator(location);
		}
			*/

		//HAL_Delay(1000);
		//printf("\n%f ", robotx);

	}
}

void SystemClock_Config(void)
{
        RCC_OscInitTypeDef RCC_OscInitStruct;
        RCC_ClkInitTypeDef RCC_ClkInitStruct;

        /**Configure the main internal regulator output voltage
    */
        __HAL_RCC_PWR_CLK_ENABLE();

        __HAL_PWR_VOLTAGESCALING_CONFIG(PWR_REGULATOR_VOLTAGE_SCALE1);

        /**Initializes the CPU, AHB and APB busses clocks
    */
        RCC_OscInitStruct.OscillatorType = RCC_OSCILLATORTYPE_HSE;
        RCC_OscInitStruct.HSEState = RCC_HSE_ON;
        RCC_OscInitStruct.PLL.PLLState = RCC_PLL_ON;
        RCC_OscInitStruct.PLL.PLLSource = RCC_PLLSOURCE_HSE;
        RCC_OscInitStruct.PLL.PLLM = 8;
        RCC_OscInitStruct.PLL.PLLN = 336;
        RCC_OscInitStruct.PLL.PLLP = RCC_PLLP_DIV2;
        RCC_OscInitStruct.PLL.PLLQ = 4;
        if (HAL_RCC_OscConfig(&RCC_OscInitStruct) != HAL_OK)
        {
                _Error_Handler(__FILE__, __LINE__);
        }

        /**Initializes the CPU, AHB and APB busses clocks
    */
        RCC_ClkInitStruct.ClockType = RCC_CLOCKTYPE_HCLK | RCC_CLOCKTYPE_SYSCLK | RCC_CLOCKTYPE_PCLK1 | RCC_CLOCKTYPE_PCLK2;
        RCC_ClkInitStruct.SYSCLKSource = RCC_SYSCLKSOURCE_PLLCLK;
        RCC_ClkInitStruct.AHBCLKDivider = RCC_SYSCLK_DIV1;
        RCC_ClkInitStruct.APB1CLKDivider = RCC_HCLK_DIV4;
        RCC_ClkInitStruct.APB2CLKDivider = RCC_HCLK_DIV2;

        if (HAL_RCC_ClockConfig(&RCC_ClkInitStruct, FLASH_LATENCY_5) != HAL_OK)
        {
                _Error_Handler(__FILE__, __LINE__);
        }

        /**Configure the Systick interrupt time
    */
        HAL_SYSTICK_Config(HAL_RCC_GetHCLKFreq() / 1000);

        /**Configure the Systick
    */
        HAL_SYSTICK_CLKSourceConfig(SYSTICK_CLKSOURCE_HCLK);

        /* SysTick_IRQn interrupt configuration */
        HAL_NVIC_SetPriority(SysTick_IRQn, 0, 0);
}

void _Error_Handler(char *file, int line)
{
        while (1)
        {
        }
}

/************************ (C) COPYRIGHT STMicroelectronics *****END OF FILE****/
